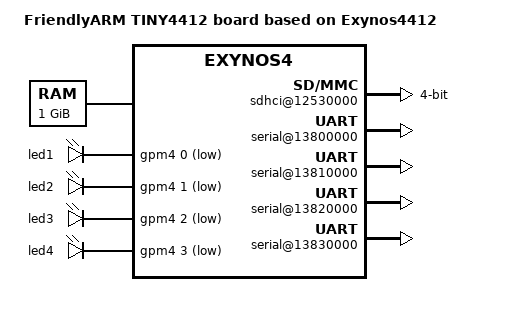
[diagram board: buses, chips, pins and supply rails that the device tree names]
/*
 * FriendlyARM's Exynos4412 based TINY4412 board device tree source
 *
 * Copyright (c) 2013 Alex Ling <kasimling@gmail.com>
 *
 * Device tree source file for FriendlyARM's TINY4412 board which is based on
 * Samsung's Exynos4412 SoC.
 *
 * This program is free software; you can redistribute it and/or modify
 * it under the terms of the GNU General Public License version 2 as
 * published by the Free Software Foundation.
*/

/dts-v1/;
#include "exynos4412.dtsi"

/ {
	model = "FriendlyARM TINY4412 board based on Exynos4412";
	compatible = "friendlyarm,tiny4412", "samsung,exynos4412", "samsung,exynos4";

	memory {
		reg = <0x40000000 0x40000000>;
	};

	leds {
		compatible = "gpio-leds";

		led1 {
			label = "led1";
			gpios = <&gpm4 0 1>;
			default-state = "off";
			linux,default-trigger = "heartbeat";
		};

		led2 {
			label = "led2";
			gpios = <&gpm4 1 1>;
			default-state = "off";
		};

		led3 {
			label = "led3";
			gpios = <&gpm4 2 1>;
			default-state = "off";
		};

		led4 {
			label = "led4";
			gpios = <&gpm4 3 1>;
			default-state = "off";
			linux,default-trigger = "mmc0";
		};
	};

	rtc@10070000 {
		status = "okay";
	};

	sdhci@12530000 {
		bus-width = <4>;
		pinctrl-0 = <&sd2_clk &sd2_cmd &sd2_cd &sd2_bus4>;
		pinctrl-names = "default";
		status = "okay";
	};

	serial@13800000 {
		status = "okay";
	};

	serial@13810000 {
		status = "okay";
	};

	serial@13820000 {
		status = "okay";
	};

	serial@13830000 {
		status = "okay";
	};

	fixed-rate-clocks {
		xxti {
			compatible = "samsung,clock-xxti";
			clock-frequency = <0>;
		};

		xusbxti {
			compatible = "samsung,clock-xusbxti";
			clock-frequency = <24000000>;
		};
	};
};
